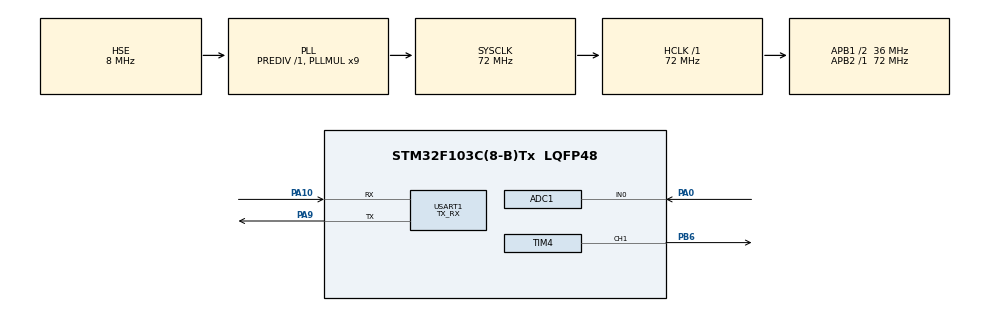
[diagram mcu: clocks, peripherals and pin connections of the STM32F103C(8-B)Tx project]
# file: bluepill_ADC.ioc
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ADC1.Channel-5\#ChannelRegularConversion=ADC_CHANNEL_0
ADC1.NbrOfConversionFlag=1
ADC1.Rank-5\#ChannelRegularConversion=1
ADC1.SamplingTime-5\#ChannelRegularConversion=ADC_SAMPLETIME_1CYCLE_5
ADC1.master=1
Mcu.Family=STM32F1
Mcu.Name=STM32F103C(8-B)Tx
Mcu.Package=LQFP48
NVIC.PriorityGroup=NVIC_PRIORITYGROUP_4
PA0-WKUP.Signal=ADCx_IN0
PA10.Mode=Asynchronous
PA10.Signal=USART1_RX
PA13.Mode=Serial_Wire
PA13.Signal=SYS_JTMS-SWDIO
PA14.Mode=Serial_Wire
PA14.Signal=SYS_JTCK-SWCLK
PA9.Mode=Asynchronous
PA9.Signal=USART1_TX
PB6.Signal=S_TIM4_CH1
PD0-OSC_IN.Mode=HSE-External-Oscillator
PD0-OSC_IN.Signal=RCC_OSC_IN
PD1-OSC_OUT.Mode=HSE-External-Oscillator
PD1-OSC_OUT.Signal=RCC_OSC_OUT
ProjectManager.HeapSize=0x200
ProjectManager.StackSize=0x400
ProjectManager.TargetToolchain=STM32CubeIDE
RCC.ADCPresc=RCC_ADCPCLK2_DIV6
RCC.AHBFreq_Value=72000000
RCC.APB1CLKDivider=RCC_HCLK_DIV2
RCC.APB1Freq_Value=36000000
RCC.APB1TimFreq_Value=72000000
RCC.APB2Freq_Value=72000000
RCC.APB2TimFreq_Value=72000000
RCC.HCLKFreq_Value=72000000
RCC.PLLMUL=RCC_PLL_MUL9
RCC.PLLSourceVirtual=RCC_PLLSOURCE_HSE
RCC.SYSCLKFreq_VALUE=72000000
RCC.SYSCLKSource=RCC_SYSCLKSOURCE_PLLCLK
RCC.USBFreq_Value=72000000
SH.ADCx_IN0.0=ADC1_IN0,IN0
SH.S_TIM4_CH1.0=TIM4_CH1,PWM Generation1 CH1
TIM4.Channel-PWM\ Generation1\ CH1=TIM_CHANNEL_1
TIM4.Period=999
TIM4.Prescaler=71
USART1.Mode=MODE_TX_RX
USART1.VirtualMode=VM_ASYNC
VP_TIM4_VS_ClockSourceINT.Mode=Internal
board=custom

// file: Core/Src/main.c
/* USER CODE BEGIN Header */
/**
  ******************************************************************************
  * @file           : main.c
  * @brief          : Main program body
  ******************************************************************************
  * @attention
  *
  * Copyright (c) 2026 STMicroelectronics.
  * All rights reserved.
  *
  * This software is licensed under terms that can be found in the LICENSE file
  * in the root directory of this software component.
  * If no LICENSE file comes with this software, it is provided AS-IS.
  *
  ******************************************************************************
  */
/* USER CODE END Header */
#include "main.h"

/* USER CODE BEGIN Includes */

#include <stdio.h>
#include <string.h>

/* USER CODE END Includes */

ADC_HandleTypeDef hadc1;

TIM_HandleTypeDef htim4;

UART_HandleTypeDef huart1;

void SystemClock_Config(void);
static void MX_GPIO_Init(void);
static void MX_USART1_UART_Init(void);
static void MX_ADC1_Init(void);
static void MX_TIM4_Init(void);

int main(void)
{

  /* MCU Configuration--------------------------------------------------------*/

  /* Reset of all peripherals, Initializes the Flash interface and the Systick. */
  HAL_Init();

  /* Configure the system clock */
  SystemClock_Config();

  /* Initialize all configured peripherals */
  MX_GPIO_Init();
  MX_USART1_UART_Init();
  MX_ADC1_Init();
  MX_TIM4_Init();
  /* USER CODE BEGIN 2 */
  uint32_t now = 0;
  uint32_t start_time = 0;
  uint32_t pwm_val = 0;
  char buffer[32]; // Buffer for UART transmission
  uint16_t adc_val = 0;
  HAL_TIM_PWM_Start(&htim4, TIM_CHANNEL_1);//Start timer PWM
  /* USER CODE END 2 */

  /* Infinite loop */
  /* USER CODE BEGIN WHILE */
  while (1)
  {
      HAL_ADC_Start(&hadc1);
//      Wait for conversion
      if (HAL_ADC_PollForConversion(&hadc1, HAL_MAX_DELAY) == HAL_OK){
//          Get ADC value (0 .. 4095 for 12-bit)
          adc_val = HAL_ADC_GetValue(&hadc1);
//          Map ADC value to PWM duty (0 .. htim4.Init.Period) ----
//          Example: Period = 999 -> 0..999
          pwm_val = (adc_val * htim4.Init.Period) / 4095;
//          Update PWM duty Cycle
          __HAL_TIM_SET_COMPARE(&htim4,TIM_CHANNEL_1,pwm_val);
      }

      HAL_ADC_Stop(&hadc1);
      now = HAL_GetTick();
      if (now - start_time >= 500)
      {
          // Send adc value to uart.
          sprintf(buffer, "ADC value: %i\r\n", adc_val);
          HAL_UART_Transmit(&huart1, (uint8_t*)buffer, strlen(buffer), HAL_MAX_DELAY);
          start_time = now;
      }

      HAL_Delay(10);
    /* USER CODE END WHILE */

  }
}

void SystemClock_Config(void)
{
  RCC_OscInitTypeDef RCC_OscInitStruct = {0};
  RCC_ClkInitTypeDef RCC_ClkInitStruct = {0};
  RCC_PeriphCLKInitTypeDef PeriphClkInit = {0};

  /** Initializes the RCC Oscillators according to the specified parameters
  * in the RCC_OscInitTypeDef structure.
  */
  RCC_OscInitStruct.OscillatorType = RCC_OSCILLATORTYPE_HSE;
  RCC_OscInitStruct.HSEState = RCC_HSE_ON;
  RCC_OscInitStruct.HSEPredivValue = RCC_HSE_PREDIV_DIV1;
  RCC_OscInitStruct.HSIState = RCC_HSI_ON;
  RCC_OscInitStruct.PLL.PLLState = RCC_PLL_ON;
  RCC_OscInitStruct.PLL.PLLSource = RCC_PLLSOURCE_HSE;
  RCC_OscInitStruct.PLL.PLLMUL = RCC_PLL_MUL9;
  if (HAL_RCC_OscConfig(&RCC_OscInitStruct) != HAL_OK)
  {
    Error_Handler();
  }

  /** Initializes the CPU, AHB and APB buses clocks
  */
  RCC_ClkInitStruct.ClockType = RCC_CLOCKTYPE_HCLK|RCC_CLOCKTYPE_SYSCLK
                              |RCC_CLOCKTYPE_PCLK1|RCC_CLOCKTYPE_PCLK2;
  RCC_ClkInitStruct.SYSCLKSource = RCC_SYSCLKSOURCE_PLLCLK;
  RCC_ClkInitStruct.AHBCLKDivider = RCC_SYSCLK_DIV1;
  RCC_ClkInitStruct.APB1CLKDivider = RCC_HCLK_DIV2;
  RCC_ClkInitStruct.APB2CLKDivider = RCC_HCLK_DIV1;

  if (HAL_RCC_ClockConfig(&RCC_ClkInitStruct, FLASH_LATENCY_2) != HAL_OK)
  {
    Error_Handler();
  }
  PeriphClkInit.PeriphClockSelection = RCC_PERIPHCLK_ADC;
  PeriphClkInit.AdcClockSelection = RCC_ADCPCLK2_DIV6;
  if (HAL_RCCEx_PeriphCLKConfig(&PeriphClkInit) != HAL_OK)
  {
    Error_Handler();
  }
}

static void MX_ADC1_Init(void)
{

  ADC_ChannelConfTypeDef sConfig = {0};

  /** Common config
  */
  hadc1.Instance = ADC1;
  hadc1.Init.ScanConvMode = ADC_SCAN_DISABLE;
  hadc1.Init.ContinuousConvMode = DISABLE;
  hadc1.Init.DiscontinuousConvMode = DISABLE;
  hadc1.Init.ExternalTrigConv = ADC_SOFTWARE_START;
  hadc1.Init.DataAlign = ADC_DATAALIGN_RIGHT;
  hadc1.Init.NbrOfConversion = 1;
  if (HAL_ADC_Init(&hadc1) != HAL_OK)
  {
    Error_Handler();
  }

  /** Configure Regular Channel
  */
  sConfig.Channel = ADC_CHANNEL_0;
  sConfig.Rank = ADC_REGULAR_RANK_1;
  sConfig.SamplingTime = ADC_SAMPLETIME_1CYCLE_5;
  if (HAL_ADC_ConfigChannel(&hadc1, &sConfig) != HAL_OK)
  {
    Error_Handler();
  }

}

static void MX_TIM4_Init(void)
{

  TIM_ClockConfigTypeDef sClockSourceConfig = {0};
  TIM_MasterConfigTypeDef sMasterConfig = {0};
  TIM_OC_InitTypeDef sConfigOC = {0};

  htim4.Instance = TIM4;
  htim4.Init.Prescaler = 71;
  htim4.Init.CounterMode = TIM_COUNTERMODE_UP;
  htim4.Init.Period = 999;
  htim4.Init.ClockDivision = TIM_CLOCKDIVISION_DIV1;
  htim4.Init.AutoReloadPreload = TIM_AUTORELOAD_PRELOAD_DISABLE;
  if (HAL_TIM_Base_Init(&htim4) != HAL_OK)
  {
    Error_Handler();
  }
  sClockSourceConfig.ClockSource = TIM_CLOCKSOURCE_INTERNAL;
  if (HAL_TIM_ConfigClockSource(&htim4, &sClockSourceConfig) != HAL_OK)
  {
    Error_Handler();
  }
  if (HAL_TIM_PWM_Init(&htim4) != HAL_OK)
  {
    Error_Handler();
  }
  sMasterConfig.MasterOutputTrigger = TIM_TRGO_RESET;
  sMasterConfig.MasterSlaveMode = TIM_MASTERSLAVEMODE_DISABLE;
  if (HAL_TIMEx_MasterConfigSynchronization(&htim4, &sMasterConfig) != HAL_OK)
  {
    Error_Handler();
  }
  sConfigOC.OCMode = TIM_OCMODE_PWM1;
  sConfigOC.Pulse = 0;
  sConfigOC.OCPolarity = TIM_OCPOLARITY_HIGH;
  sConfigOC.OCFastMode = TIM_OCFAST_DISABLE;
  if (HAL_TIM_PWM_ConfigChannel(&htim4, &sConfigOC, TIM_CHANNEL_1) != HAL_OK)
  {
    Error_Handler();
  }
  HAL_TIM_MspPostInit(&htim4);

}

static void MX_USART1_UART_Init(void)
{

  huart1.Instance = USART1;
  huart1.Init.BaudRate = 115200;
  huart1.Init.WordLength = UART_WORDLENGTH_8B;
  huart1.Init.StopBits = UART_STOPBITS_1;
  huart1.Init.Parity = UART_PARITY_NONE;
  huart1.Init.Mode = UART_MODE_TX_RX;
  huart1.Init.HwFlowCtl = UART_HWCONTROL_NONE;
  huart1.Init.OverSampling = UART_OVERSAMPLING_16;
  if (HAL_UART_Init(&huart1) != HAL_OK)
  {
    Error_Handler();
  }

}

static void MX_GPIO_Init(void)
{

  /* GPIO Ports Clock Enable */
  __HAL_RCC_GPIOD_CLK_ENABLE();
  __HAL_RCC_GPIOA_CLK_ENABLE();
  __HAL_RCC_GPIOB_CLK_ENABLE();

}

void Error_Handler(void)
{
  __disable_irq();
  while (1)
  {
  }
}
